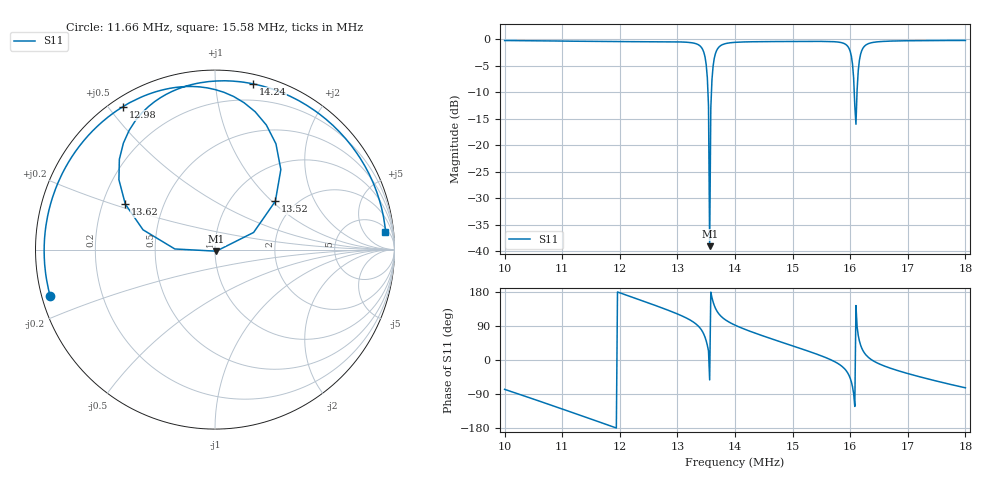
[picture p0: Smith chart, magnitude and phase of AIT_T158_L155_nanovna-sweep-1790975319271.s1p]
! NanoVNA Web complex sweep
! Processing: original sample grid, no browser smoothing
# Hz S RI R 50
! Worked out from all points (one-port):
!   401 points, 10 MHz to 18 MHz, reference 50 ohm
!   lowest |S11| = -39.1 dB at 13.56 MHz (marker M1), VSWR 1.02, Z = 50.7 - j0.894 ohm
!   |S11| at or under -10 dB: 13.53023 MHz to 13.59115 MHz (60.92 kHz wide, 0.449 % of centre); 16.07009 MHz to 16.11861 MHz (48.52 kHz wide, 0.301 % of centre)
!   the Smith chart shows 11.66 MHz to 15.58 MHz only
!   S11 on the Smith chart (normalised r, x): 11.66 MHz: 0.02, -0.14; 12.98 MHz: 0.04, +0.54; 13.52 MHz: 1.59, +1.05; 13.62 MHz: 0.30, +0.22; 14.24 MHz: 0.07, +1.25; 15.58 MHz: 7, +16
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1e7  0.2113 -0.9509
1.1e7  -0.6103 -0.7454
1.166e7  -0.9192 -0.256
1.2e7  -0.9506 0.0438
1.298e7  -0.5135 0.796
1.3e7  -0.4956 0.8067
1.33e7  -0.1231 0.9087
1.344e7  0.2236 0.7683
1.35e7  0.3668 0.4461
1.352e7  0.3362 0.2695
1.356e7  0.00678 -0.00882
1.36e7  -0.4011 0.1103
1.362e7  -0.4995 0.253
1.376e7  -0.3712 0.7965
1.4e7  -0.0329 0.9364
1.424e7  0.2128 0.9233
1.5e7  0.76 0.5787
1.558e7  0.9498 0.1008
1.588e7  0.8657 -0.3111
1.6e7  0.5143 -0.5741
1.604e7  0.1961 -0.5517
1.608e7  -0.1265 -0.1978
1.614e7  0.2171 0.4585
1.618e7  0.5564 0.4601
1.624e7  0.8001 0.2942
1.636e7  0.9263 0.0283
1.7e7  0.7872 -0.567
1.8e7  0.2786 -0.9354
